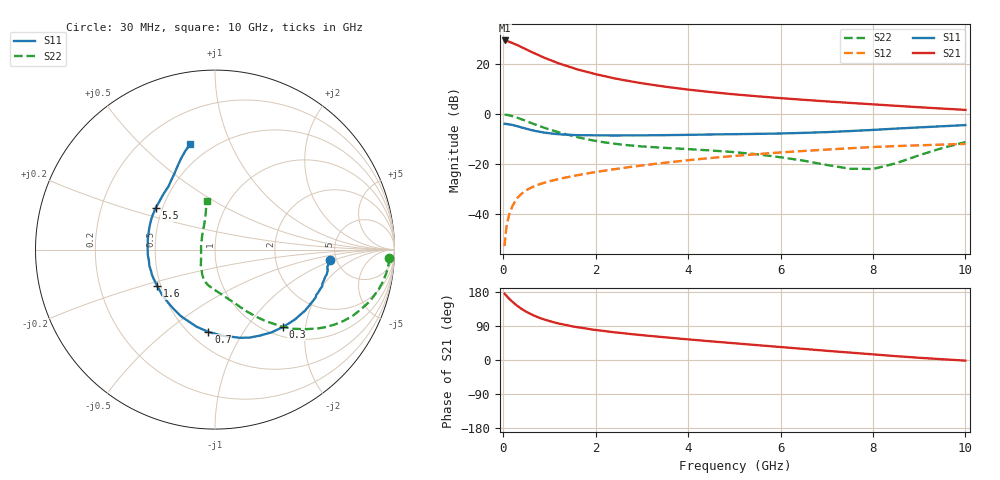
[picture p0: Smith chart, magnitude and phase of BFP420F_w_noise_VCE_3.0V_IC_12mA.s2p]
! Infineon Technologies  Discrete & RF Semiconductors
! BFP420F
! VCE =  3.0 V,  IC =  12 mA
! Common Emitter S-Parameters:  Sep 2011
# GHz  S  MA  R  50
!  f  S11  S21  S12  S22
! GHz  MAG  ANG  MAG  ANG  MAG  ANG  MAG  ANG
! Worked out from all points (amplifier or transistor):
!   54 points, 30 MHz to 10 GHz, reference 50 ohm
!   highest |S21| = 29.4 dB at 30 MHz (marker M1)
!   |S21| within 3 dB of that: start of sweep to 434.6 MHz
!   unconditionally stable (mu >= 1): 1.964 GHz to end of sweep
!   at 120 MHz: K = 0.20, MSG = 34.9 dB, |S12| = -40.7 dB
!   at 1.3 GHz: K = 0.79, MSG = 22.6 dB, |S12| = -25.5 dB
!   at 10 GHz: K = 1.27, MAG = 3.7 dB, |S12| = -11.9 dB
!   lowest NFmin = 1.26 dB at 450 MHz
!   S11 on the Smith chart (normalised r, x): 30 MHz: 4.40, -0.84; 300 MHz: 1.16, -1.50; 700 MHz: 0.61, -0.71; 1.6 GHz: 0.48, -0.23; 5.5 GHz: 0.46, +0.25; 10 GHz: 0.39, +0.72
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0.03  0.641 -5.0  29.61 174.8  0.0023 83.3  0.9717 -2.7
0.05  0.6332 -8.6  29.21 171.6  0.0035 83.3  0.9701 -4.8
0.1  0.6274 -17.4  28.64 165.2  0.0077 81.3  0.9565 -9.6
0.15  0.6203 -25.8  27.38 159.0  0.0111 78.8  0.9352 -14.2
0.25  0.5912 -41.3  25.06 148.2  0.0176 73.2  0.8792 -22.2
0.3  0.5736 -49.0  24.04 143.4  0.0207 70.8  0.8501 -25.9
0.35  0.5575 -56.0  22.85 138.9  0.0233 68.6  0.8172 -29.2
0.45  0.5267 -68.6  20.65 130.9  0.0281 65.0  0.7552 -34.8
0.6  0.4815 -85.2  17.64 121.0  0.0338 60.9  0.666 -41.8
0.7  0.46 -94.6  16.05 115.5  0.0372 59.2  0.6166 -45.6
0.8  0.442 -103.3  14.56 110.5  0.0401 58.0  0.5706 -48.8
0.9  0.4253 -110.8  13.26 106.5  0.0429 57.1  0.5297 -51.5
1.1  0.4044 -124.1  11.24 99.4  0.048 55.9  0.462 -56.6
1.3  0.3908 -134.8  9.632 93.8  0.0529 55.4  0.4099 -60.7
1.6  0.3803 -148.0  7.845 86.6  0.06 55.0  0.3482 -66.5
1.7  0.3787 -151.6  7.412 84.9  0.0624 55.0  0.3309 -68.2
2.4  0.3732 -170.9  5.192 73.1  0.0793 54.2  0.2569 -80.6
3.5  0.38 169.4  3.534 59.9  0.1069 51.7  0.2114 -96.1
5.5  0.4034 145.1  2.268 39.2  0.1588 42.6  0.1574 -116.8
7  0.4366 126.6  1.794 24.3  0.1956 34.0  0.0964 -143.9
8.5  0.5137 113.7  1.465 10.1  0.2296 24.2  0.1043 133.5
10  0.6037 103.2  1.216 -1.6  0.2537 15.2  0.2758 99.8
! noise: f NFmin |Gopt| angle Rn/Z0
0.45  1.26  0.03  161  0.12
0.9  1.26  0.06  135  0.14
1.9  1.4  0.17  170  0.18
2.4  1.46  0.17  173  0.12
3.5  1.72  0.22  -173  0.16
